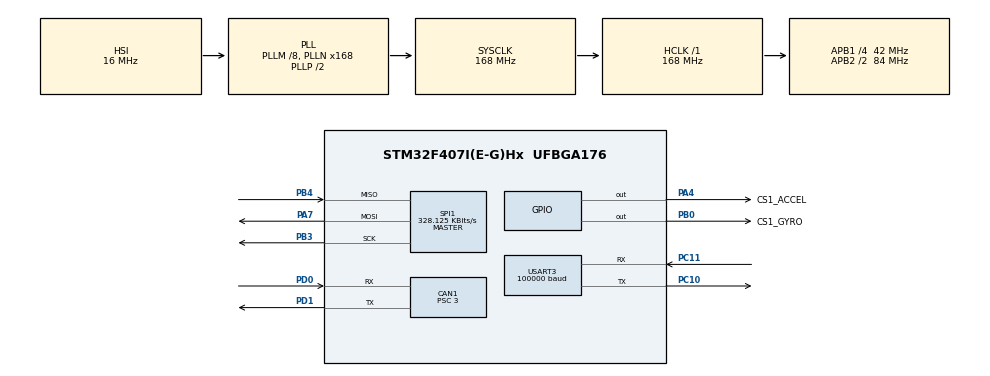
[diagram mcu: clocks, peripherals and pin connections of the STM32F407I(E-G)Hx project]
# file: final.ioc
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CAN1.BS1=CAN_BS1_11TQ
CAN1.BS2=CAN_BS2_2TQ
CAN1.CalculateBaudRate=1000000
CAN1.CalculateTimeBit=1000
CAN1.CalculateTimeQuantum=71.42857142857143
CAN1.Prescaler=3
Dma.Request0=USART3_RX
Dma.Request1=SPI1_RX
Dma.SPI1_RX.1.Direction=DMA_PERIPH_TO_MEMORY
Dma.SPI1_RX.1.FIFOMode=DMA_FIFOMODE_DISABLE
Dma.SPI1_RX.1.Instance=DMA2_Stream0
Dma.SPI1_RX.1.MemDataAlignment=DMA_MDATAALIGN_BYTE
Dma.SPI1_RX.1.MemInc=DMA_MINC_ENABLE
Dma.SPI1_RX.1.Mode=DMA_NORMAL
Dma.SPI1_RX.1.PeriphDataAlignment=DMA_PDATAALIGN_BYTE
Dma.SPI1_RX.1.PeriphInc=DMA_PINC_DISABLE
Dma.SPI1_RX.1.Priority=DMA_PRIORITY_LOW
Dma.USART3_RX.0.Direction=DMA_PERIPH_TO_MEMORY
Dma.USART3_RX.0.FIFOMode=DMA_FIFOMODE_DISABLE
Dma.USART3_RX.0.Instance=DMA1_Stream1
Dma.USART3_RX.0.MemDataAlignment=DMA_MDATAALIGN_BYTE
Dma.USART3_RX.0.MemInc=DMA_MINC_ENABLE
Dma.USART3_RX.0.Mode=DMA_NORMAL
Dma.USART3_RX.0.PeriphDataAlignment=DMA_PDATAALIGN_BYTE
Dma.USART3_RX.0.PeriphInc=DMA_PINC_DISABLE
Dma.USART3_RX.0.Priority=DMA_PRIORITY_LOW
FREERTOS.Tasks01=defaultTask,24,128,StartDefaultTask,Default,NULL,Dynamic,NULL,NULL
FREERTOS.configENABLE_FPU=1
Mcu.Family=STM32F4
Mcu.Name=STM32F407I(E-G)Hx
Mcu.Package=UFBGA176
NVIC.CAN1_RX0_IRQn=true\:5\:0\:false\:false\:true\:true\:true\:true\:true
NVIC.DMA1_Stream1_IRQn=true\:5\:0\:false\:false\:true\:true\:false\:true\:true
NVIC.DMA2_Stream0_IRQn=true\:5\:0\:false\:false\:true\:true\:false\:true\:true
NVIC.PriorityGroup=NVIC_PRIORITYGROUP_4
NVIC.RCC_IRQn=true\:5\:0\:false\:false\:true\:true\:true\:false\:true
NVIC.SPI1_IRQn=true\:5\:0\:false\:false\:true\:true\:true\:true\:true
NVIC.TIM6_DAC_IRQn=true\:15\:0\:false\:false\:true\:false\:false\:true\:true
NVIC.TIM7_IRQn=true\:5\:0\:false\:false\:true\:true\:true\:true\:true
NVIC.TimeBase=TIM6_DAC_IRQn
NVIC.TimeBaseIP=TIM6
NVIC.USART3_IRQn=true\:5\:0\:false\:false\:true\:true\:true\:true\:true
PA13.Mode=Serial_Wire
PA13.Signal=SYS_JTMS-SWDIO
PA14.Mode=Serial_Wire
PA14.Signal=SYS_JTCK-SWCLK
PA4.GPIO_Label=CS1_ACCEL
PA4.Signal=GPIO_Output
PA7.Mode=Full_Duplex_Master
PA7.Signal=SPI1_MOSI
PB0.GPIO_Label=CS1_GYRO
PB0.Signal=GPIO_Output
PB3.Mode=Full_Duplex_Master
PB3.Signal=SPI1_SCK
PB4.Mode=Full_Duplex_Master
PB4.Signal=SPI1_MISO
PC10.Mode=Asynchronous
PC10.Signal=USART3_TX
PC11.Mode=Asynchronous
PC11.Signal=USART3_RX
PD0.Mode=CAN_Activate
PD0.Signal=CAN1_RX
PD1.Mode=CAN_Activate
PD1.Signal=CAN1_TX
PH0-OSC_IN.Mode=HSE-External-Oscillator
PH0-OSC_IN.Signal=RCC_OSC_IN
PH1-OSC_OUT.Mode=HSE-External-Oscillator
PH1-OSC_OUT.Signal=RCC_OSC_OUT
ProjectManager.HeapSize=0x8000
ProjectManager.StackSize=0x8000
ProjectManager.TargetToolchain=CMake
RCC.48MHZClocksFreq_Value=84000000
RCC.AHBFreq_Value=168000000
RCC.APB1CLKDivider=RCC_HCLK_DIV4
RCC.APB1Freq_Value=42000000
RCC.APB1TimFreq_Value=84000000
RCC.APB2CLKDivider=RCC_HCLK_DIV2
RCC.APB2Freq_Value=84000000
RCC.APB2TimFreq_Value=168000000
RCC.CortexFreq_Value=168000000
RCC.HCLKFreq_Value=168000000
RCC.HSE_VALUE=12000000
RCC.HSI_VALUE=16000000
RCC.LSE_VALUE=32768
RCC.PLLM=8
RCC.PLLN=168
RCC.SYSCLKFreq_VALUE=168000000
RCC.SYSCLKSource=RCC_SYSCLKSOURCE_PLLCLK
RCC.VCOOutputFreq_Value=336000000
SPI1.BaudRatePrescaler=SPI_BAUDRATEPRESCALER_256
SPI1.CalculateBaudRate=328.125 KBits/s
SPI1.Direction=SPI_DIRECTION_2LINES
SPI1.Mode=SPI_MODE_MASTER
SPI1.VirtualType=VM_MASTER
STMicroelectronics.X-CUBE-ALGOBUILD.1.4.0.LibraryCcDSPOoLibraryJjDSPOoLibrary=true
TIM7.Period=1000-1
TIM7.Prescaler=168-1
USART3.BaudRate=100000
USART3.Parity=PARITY_EVEN
USART3.VirtualMode=VM_ASYNC
USART3.WordLength=WORDLENGTH_9B
VP_FREERTOS_VS_CMSIS_V2.Mode=CMSIS_V2
VP_STMicroelectronics.X-CUBE-ALGOBUILD_VS_DSPOoLibraryJjLibrary_1.4.0_1.4.0.Mode=DSPOoLibraryJjLibrary
VP_SYS_VS_tim6.Mode=TIM6
VP_TIM7_VS_ClockSourceINT.Mode=Enable_Timer
board=custom

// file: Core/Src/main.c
/* USER CODE BEGIN Header */
/**
  ******************************************************************************
  * @file           : main.c
  * @brief          : Main program body
  ******************************************************************************
  * @attention
  *
  * Copyright (c) 2025 STMicroelectronics.
  * All rights reserved.
  *
  * This software is licensed under terms that can be found in the LICENSE file
  * in the root directory of this software component.
  * If no LICENSE file comes with this software, it is provided AS-IS.
  *
  ******************************************************************************
  */
/* USER CODE END Header */
#include "main.h"
#include "cmsis_os.h"
#include "can.h"
#include "dma.h"
#include "spi.h"
#include "tim.h"
#include "usart.h"
#include "gpio.h"

/* USER CODE BEGIN Includes */

#include "math.h"
#include "CanTxManager.h"
#include "bmi088.h"
#include "user_tasks.h"
#include "rc.h"

/* USER CODE END Includes */

/* USER CODE BEGIN PV */
// osThreadId_t control_task_handle;
// osThreadId_t imu_task_handle;
// osThreadId_t can_send_task_handle;
// osThreadId_t can_recv_task_handle;
// osThreadId_t iwdg_task_handle;
// osThreadId_t rc_process_task_handle;

/* USER CODE END PV */

void SystemClock_Config(void);
void MX_FREERTOS_Init(void);

/* USER CODE BEGIN 0 */
uint8_t rx_buffer[18];
uint8_t stop_flag = 1;
/* USER CODE END 0 */

int main(void)
{

  /* MCU Configuration--------------------------------------------------------*/

  /* Reset of all peripherals, Initializes the Flash interface and the Systick. */
  HAL_Init();

  /* Configure the system clock */
  SystemClock_Config();

  /* Initialize all configured peripherals */
  MX_GPIO_Init();
  MX_DMA_Init();
  MX_CAN1_Init();
  MX_TIM7_Init();
  MX_USART3_UART_Init();
  MX_SPI1_Init();
  /* USER CODE BEGIN 2 */
  HAL_CAN_ConfigFilter(&hcan1, &filter_config);
  HAL_CAN_Start(&hcan1);
  HAL_CAN_ActivateNotification(&hcan1, CAN_IT_RX_FIFO0_MSG_PENDING);
  HAL_TIM_Base_Start_IT(&htim7);

  // user_tasks_init();
  bmi088_init();
  HAL_UARTEx_ReceiveToIdle_DMA(&huart3,rx_buffer,18);
  /* USER CODE END 2 */

  /* Init scheduler */
  osKernelInitialize();  /* Call init function for freertos objects (in cmsis_os2.c) */
  MX_FREERTOS_Init();

  /* Start scheduler */
  osKernelStart();

  /* We should never get here as control is now taken by the scheduler */

  /* Infinite loop */
  while (1)
  {

  }
}

void SystemClock_Config(void)
{
  RCC_OscInitTypeDef RCC_OscInitStruct = {0};
  RCC_ClkInitTypeDef RCC_ClkInitStruct = {0};

  /** Configure the main internal regulator output voltage
  */
  __HAL_RCC_PWR_CLK_ENABLE();
  __HAL_PWR_VOLTAGESCALING_CONFIG(PWR_REGULATOR_VOLTAGE_SCALE1);

  /** Initializes the RCC Oscillators according to the specified parameters
  * in the RCC_OscInitTypeDef structure.
  */
  RCC_OscInitStruct.OscillatorType = RCC_OSCILLATORTYPE_HSI;
  RCC_OscInitStruct.HSIState = RCC_HSI_ON;
  RCC_OscInitStruct.HSICalibrationValue = RCC_HSICALIBRATION_DEFAULT;
  RCC_OscInitStruct.PLL.PLLState = RCC_PLL_ON;
  RCC_OscInitStruct.PLL.PLLSource = RCC_PLLSOURCE_HSI;
  RCC_OscInitStruct.PLL.PLLM = 8;
  RCC_OscInitStruct.PLL.PLLN = 168;
  RCC_OscInitStruct.PLL.PLLP = RCC_PLLP_DIV2;
  RCC_OscInitStruct.PLL.PLLQ = 4;
  if (HAL_RCC_OscConfig(&RCC_OscInitStruct) != HAL_OK)
  {
    Error_Handler();
  }

  /** Initializes the CPU, AHB and APB buses clocks
  */
  RCC_ClkInitStruct.ClockType = RCC_CLOCKTYPE_HCLK|RCC_CLOCKTYPE_SYSCLK
                              |RCC_CLOCKTYPE_PCLK1|RCC_CLOCKTYPE_PCLK2;
  RCC_ClkInitStruct.SYSCLKSource = RCC_SYSCLKSOURCE_PLLCLK;
  RCC_ClkInitStruct.AHBCLKDivider = RCC_SYSCLK_DIV1;
  RCC_ClkInitStruct.APB1CLKDivider = RCC_HCLK_DIV4;
  RCC_ClkInitStruct.APB2CLKDivider = RCC_HCLK_DIV2;

  if (HAL_RCC_ClockConfig(&RCC_ClkInitStruct, FLASH_LATENCY_5) != HAL_OK)
  {
    Error_Handler();
  }
}

void Error_Handler(void)
{
  __disable_irq();
  while (1)
  {
  }
}

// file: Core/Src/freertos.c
/* USER CODE BEGIN Header */
/**
  ******************************************************************************
  * File Name          : freertos.c
  * Description        : Code for freertos applications
  ******************************************************************************
  * @attention
  *
  * Copyright (c) 2025 STMicroelectronics.
  * All rights reserved.
  *
  * This software is licensed under terms that can be found in the LICENSE file
  * in the root directory of this software component.
  * If no LICENSE file comes with this software, it is provided AS-IS.
  *
  ******************************************************************************
  */
/* USER CODE END Header */

#include "FreeRTOS.h"
#include "task.h"
#include "main.h"
#include "cmsis_os.h"

/* USER CODE BEGIN Includes */
#include "user_tasks.h"
/* USER CODE END Includes */

/* Definitions for defaultTask */
osThreadId_t defaultTaskHandle;
const osThreadAttr_t defaultTask_attributes = {
  .name = "defaultTask",
  .stack_size = 128 * 4,
  .priority = (osPriority_t) osPriorityNormal,
};

void StartDefaultTask(void *argument);

void MX_FREERTOS_Init(void); /* (MISRA C 2004 rule 8.1) */

void MX_FREERTOS_Init(void) {
  /* USER CODE BEGIN Init */

  user_tasks_init();
  /* USER CODE END Init */

  /* Create the thread(s) */
  /* creation of defaultTask */
  defaultTaskHandle = osThreadNew(StartDefaultTask, NULL, &defaultTask_attributes);

}

void StartDefaultTask(void *argument)
{
  for(;;)
  {
    osDelay(1);
  }
}
